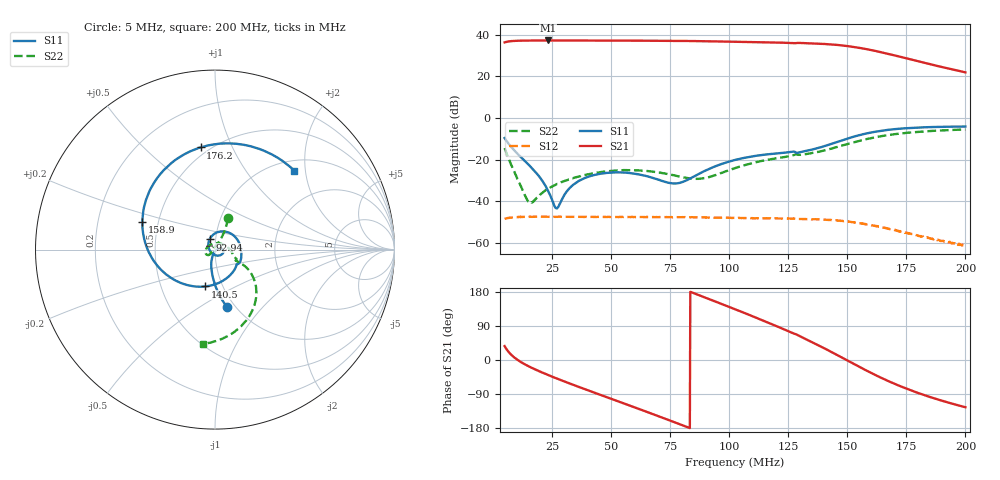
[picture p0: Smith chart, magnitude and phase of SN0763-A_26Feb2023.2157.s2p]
# Hz S DB R 50
! CMT, M5045, 22160017, 22.4.3/2
! Date: 2/26/2023 21:57:02
! Data: Format (Calibration Info)
! Freq	S11:dB/Ang(F2)	S21:dB/Ang(F2)	S12:dB/Ang(F2)	S22:dB/Ang(F2)
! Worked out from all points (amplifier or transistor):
!   1001 points, 5 MHz to 200 MHz, reference 50 ohm
!   highest |S21| = 37.4 dB at 23.33 MHz (marker M1)
!   |S21| within 3 dB of that: start of sweep to 152 MHz
!   unconditionally stable (mu >= 1): start of sweep to end of sweep
!   at 37.37 MHz: K = 1.79, MAG = 37.3 dB, |S12| = -47.6 dB
!   at 102.5 MHz: K = 1.98, MAG = 36.8 dB, |S12| = -48.2 dB
!   at 200 MHz: K = 21.60, MAG = 25.5 dB, |S12| = -61.7 dB
!   S11 on the Smith chart (normalised r, x): 5 MHz: 0.92, -0.66; 92.94 MHz: 0.93, +0.11; 140.5 MHz: 0.83, -0.36; 158.9 MHz: 0.41, +0.16; 176.2 MHz: 0.45, +0.76; 200 MHz: 1.21, +1.74
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5000000  -9.64 -78.0  36.41 36.7  -48.62 39.9  -14.48 68.0
7730000  -13.83 -89.2  37.03 14.3  -47.92 17.1  -22.37 61.5
1.1045e7  -17.88 -97.9  37.23 -2.0  -47.59 1.1  -30.86 69.9
1.6505e7  -24.04 -107.9  37.32 -20.7  -47.56 -17.7  -40.76 153.3
2.333e7  -34.87 -106.7  37.35 -39.4  -47.55 -36.0  -34.12 -150.2
3.7565e7  -29.60 11.8  37.32 -73.7  -47.57 -68.4  -27.83 -137.8
4.5365e7  -26.87 -1.7  37.30 -91.6  -47.62 -85.2  -26.11 -142.3
5.336e7  -26.15 -20.2  37.27 -109.8  -47.68 -102.5  -25.18 -151.4
7.013e7  -29.73 -81.8  37.21 -148.3  -47.74 -139.0  -26.19 175.7
8.1635e7  -30.17 -177.4  37.11 -175.5  -47.82 -164.7  -28.75 131.1
9.2945e7  -23.82 118.3  36.92 157.3  -47.92 169.6  -27.97 62.1
1.025e8  -20.19 82.0  36.72 134.0  -48.15 147.7  -24.15 20.7
1.11275e8  -18.21 49.8  36.53 112.1  -48.22 126.6  -21.29 -2.2
1.1927e8  -17.14 17.0  36.35 91.5  -48.31 107.0  -19.51 -16.0
1.29215e8  -16.67 -35.6  36.16 65.1  -48.61 80.3  -17.72 -28.0
1.35065e8  -15.21 -69.8  35.94 47.2  -48.73 63.9  -16.89 -27.9
1.40525e8  -13.47 -104.5  35.65 30.2  -48.87 47.8  -15.56 -28.0
1.49105e8  -10.24 -154.2  34.78 1.9  -49.68 19.9  -12.85 -32.0
1.58855e8  -7.25 158.9  33.02 -30.1  -51.30 -10.8  -9.96 -43.6
1.6763e8  -5.65 124.9  30.82 -56.3  -53.34 -37.0  -8.14 -57.1
1.7621e8  -4.81 98.0  28.41 -78.4  -55.57 -57.3  -7.01 -69.9
2e8  -4.10 44.9  21.99 -124.7  -61.70 -103.9  -5.51 -97.4
